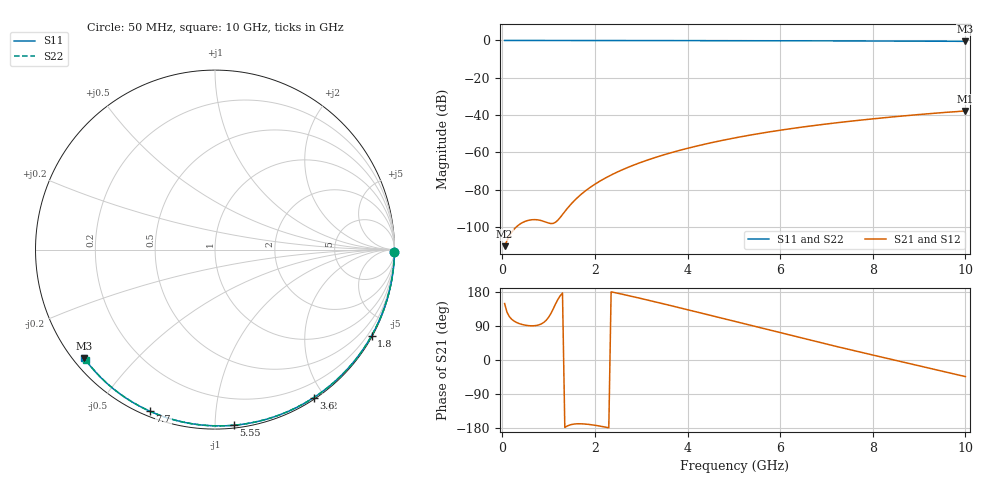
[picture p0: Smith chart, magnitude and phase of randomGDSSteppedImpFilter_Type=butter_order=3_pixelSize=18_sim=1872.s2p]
! freq	dB(S11)	phase(S11)	dB(S12)	phase(S12)
!  dB(S21)	phase(S21)	dB(S22)	phase(S22)
!S-par simulation data
#  GHz  S  DB  R 50
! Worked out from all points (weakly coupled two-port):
!   200 points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, 50 MHz to 10 GHz, reference 50 ohm
!   highest |S21| = -37.76 dB at 10 GHz (marker M1); lowest = -110.2 dB at 50 MHz (marker M2)
!   lowest |S11| = -0.5 dB at 10 GHz (marker M3), VSWR 36.66, Z = 1.54 - j18.1 ohm
!   |S11| at or under -10 dB: nowhere
!   |S22| runs from -0.5 to 0.0 dB; largest |S21 - S12| = 0
!   S11 on the Smith chart (normalised r, x): 50 MHz: open; 1.8 GHz: 0.03, -3.88; 3.6 GHz: 0.02, -1.87; 5.55 GHz: 0.02, -1.11; 7.7 GHz: 0.02, -0.68; 10 GHz: 0.03, -0.36
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0.05  -0.00 -0.8  -110.16 148.8  -110.16 148.8  -0.00 -0.8
0.45  -0.01 -7.3  -97.36 93.1  -97.36 93.1  -0.01 -7.3
0.9  -0.02 -14.6  -96.91 99.6  -96.91 99.6  -0.02 -14.5
1.3  -0.03 -21.0  -93.21 176.7  -93.21 176.7  -0.03 -20.8
1.75  -0.04 -28.1  -81.43 -168.6  -81.43 -168.6  -0.04 -27.9
1.8  -0.04 -28.9  -80.45 -169.1  -80.45 -169.1  -0.04 -28.7
1.85  -0.04 -29.7  -79.53 -169.7  -79.53 -169.7  -0.04 -29.4
2.05  -0.04 -32.8  -76.20 -173.2  -76.20 -173.2  -0.04 -32.5
2.2  -0.05 -35.1  -74.03 -176.5  -74.03 -176.5  -0.04 -34.9
2.55  -0.05 -40.5  -69.71 174.7  -69.71 174.7  -0.05 -40.2
2.95  -0.06 -46.6  -65.68 163.6  -65.68 163.6  -0.06 -46.3
3.4  -0.07 -53.4  -61.91 150.6  -61.91 150.6  -0.07 -53.0
3.6  -0.08 -56.3  -60.43 144.7  -60.43 144.7  -0.08 -55.9
4.3  -0.09 -66.5  -55.95 123.7  -55.95 123.7  -0.09 -66.1
5.05  -0.12 -77.1  -52.05 100.9  -52.05 100.9  -0.12 -76.6
5.55  -0.14 -84.0  -49.84 85.6  -49.84 85.6  -0.14 -83.4
6.1  -0.16 -91.3  -47.70 68.9  -47.70 68.9  -0.16 -90.7
6.7  -0.19 -99.2  -45.66 50.9  -45.66 50.9  -0.19 -98.6
7.7  -0.26 -111.9  -42.76 21.7  -42.76 21.7  -0.25 -111.3
8.35  -0.31 -120.0  -41.13 3.2  -41.13 3.2  -0.31 -119.3
9.2  -0.38 -130.5  -39.24 -20.9  -39.24 -20.9  -0.38 -129.7
10  -0.47 -140.2  -37.76 -43.8  -37.76 -43.8  -0.47 -139.5
